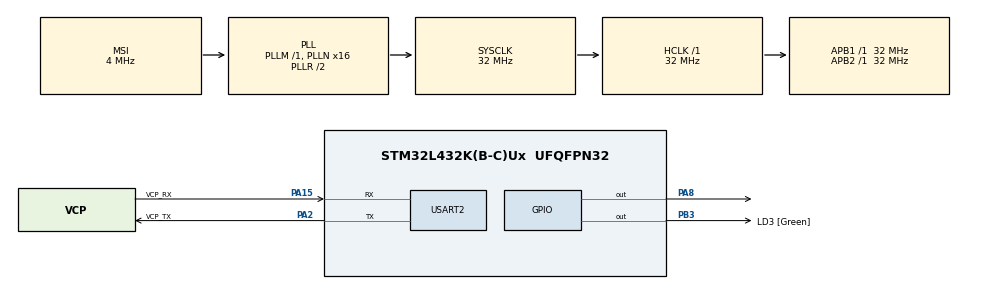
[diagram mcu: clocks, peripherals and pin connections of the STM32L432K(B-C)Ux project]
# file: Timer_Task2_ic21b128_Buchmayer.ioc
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Mcu.Family=STM32L4
Mcu.Name=STM32L432K(B-C)Ux
Mcu.Package=UFQFPN32
NVIC.PriorityGroup=NVIC_PRIORITYGROUP_4
NVIC.TIM6_DAC_IRQn=true\:0\:0\:false\:false\:true\:true\:true\:true
PA0.GPIO_Label=MCO [High speed clock in]
PA0.Mode=HSE-External-Clock-Source-for-LittleOrca
PA0.Signal=RCC_CK_IN
PA13\ (JTMS-SWDIO).GPIO_Label=SWDIO
PA13\ (JTMS-SWDIO).Mode=Serial_Wire
PA13\ (JTMS-SWDIO).Signal=SYS_JTMS-SWDIO
PA14\ (JTCK-SWCLK).GPIO_Label=SWCLK
PA14\ (JTCK-SWCLK).Mode=Serial_Wire
PA14\ (JTCK-SWCLK).Signal=SYS_JTCK-SWCLK
PA15\ (JTDI).GPIO_Label=VCP_RX
PA15\ (JTDI).Mode=Asynchronous
PA15\ (JTDI).Signal=USART2_RX
PA2.GPIO_Label=VCP_TX
PA2.Mode=Asynchronous
PA2.Signal=USART2_TX
PA8.Signal=GPIO_Output
PB3\ (JTDO-TRACESWO).GPIO_Label=LD3 [Green]
PB3\ (JTDO-TRACESWO).Signal=GPIO_Output
PC14-OSC32_IN\ (PC14).Mode=LSE-External-Oscillator
PC14-OSC32_IN\ (PC14).Signal=RCC_OSC32_IN
PC15-OSC32_OUT\ (PC15).Mode=LSE-External-Oscillator
PC15-OSC32_OUT\ (PC15).Signal=RCC_OSC32_OUT
ProjectManager.HeapSize=0x200
ProjectManager.StackSize=0x400
ProjectManager.TargetToolchain=STM32CubeIDE
RCC.AHBFreq_Value=32000000
RCC.APB1Freq_Value=32000000
RCC.APB1TimFreq_Value=32000000
RCC.APB2Freq_Value=32000000
RCC.APB2TimFreq_Value=32000000
RCC.CortexFreq_Value=32000000
RCC.HCLKFreq_Value=32000000
RCC.HSE_VALUE=8000000
RCC.HSI16_VALUE=16000000
RCC.HSI48_VALUE=48000000
RCC.HSI_VALUE=16000000
RCC.MSI_VALUE=4000000
RCC.PLLMUL=RCC_PLLMUL_4
RCC.PLLN=16
RCC.SYSCLKFreq_VALUE=32000000
RCC.SYSCLKSource=RCC_SYSCLKSOURCE_PLLCLK
RCC.VCOOutputFreq_Value=64000000
TIM6.AutoReloadPreload=TIM_AUTORELOAD_PRELOAD_ENABLE
TIM6.Period=1000
TIM6.Prescaler=31999
USART2.VirtualMode-Asynchronous=VM_ASYNC
VP_TIM6_VS_ClockSourceINT.Mode=Enable_Timer
board=NUCLEO-L432KC

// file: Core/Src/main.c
/* USER CODE BEGIN Header */
/**
  ******************************************************************************
  * @file           : main.c
  * @brief          : Main program body
  ******************************************************************************
  * @attention
  *
  * Copyright (c) 2022 STMicroelectronics.
  * All rights reserved.
  *
  * This software is licensed under terms that can be found in the LICENSE file
  * in the root directory of this software component.
  * If no LICENSE file comes with this software, it is provided AS-IS.
  *
  ******************************************************************************
  */
/* USER CODE END Header */
#include "main.h"

TIM_HandleTypeDef htim6;

UART_HandleTypeDef huart2;

/* USER CODE BEGIN PV */
uint32_t time = 0;
uint32_t non_block_call = 0;
uint32_t non_block_timeout = 0;
void (*callback)(void) = NULL;

/* USER CODE END PV */

void SystemClock_Config(void);
static void MX_GPIO_Init(void);
static void MX_USART2_UART_Init(void);
static void MX_TIM6_Init(void);
/* USER CODE BEGIN PFP */

void _tim_timeout_blocking(uint32_t dur){
//	uint32_t elapse = time;
//	while(time < elapse + dur){
//		//blocking
//	}

	//doesnt work, please do more practical work in class, theory doesnt help if i dont know how to apply it
//	HAL_SuspendTick();
//	HAL_PWR_EnterSLEEPMode(PWR_MAINREGULATOR_ON, PWR_SLEEPENTRY_WFI);

	HAL_Delay(dur);
}

void _tim_timeout_nonblocking_with_callback(uint32_t dur, void(*call_func)(void)){
	callback = call_func;
	non_block_timeout = dur;
	non_block_call = time;
}

void toggle_LED(){
	//task didnt specify how you are supposed to demonstrate/show the task, so i did what classmates did and toggled an LED
	//please be more specific with the tasks, i spend too much time actually trying to figure out what is required than actually working
	HAL_GPIO_TogglePin(GPIOA, GPIO_PIN_8);
	callback = NULL;
	non_block_timeout = 0;
	non_block_call = 0;
}

void HAL_TIM_PeriodElapsedCallback(TIM_HandleTypeDef *htim){
	time += htim->Instance->ARR + 1;

	if(callback != NULL && time >= non_block_call + non_block_timeout){
		callback();
	}
}

/* USER CODE END PFP */

int main(void)
{

  /* MCU Configuration--------------------------------------------------------*/

  /* Reset of all peripherals, Initializes the Flash interface and the Systick. */
  HAL_Init();

  /* Configure the system clock */
  SystemClock_Config();

  /* Initialize all configured peripherals */
  MX_GPIO_Init();
  MX_USART2_UART_Init();
  MX_TIM6_Init();

  /* Infinite loop */
  while (1)
  {

    /* USER CODE BEGIN 3 */

	  //task unclear, i have little to no idea what im doing and everything was done using google, please help
	  //please be more specific with the tasks, i spend too much time actually trying to figure out what is required than actually working
	  _tim_timeout_blocking(1000);
//	  HAL_ResumeTick(); //didnt work
	  HAL_GPIO_TogglePin(GPIOB, GPIO_PIN_3);
	  _tim_timeout_nonblocking_with_callback(200, toggle_LED);

	  //task requirements were very unclear, only way i was able to do this was with constant 24/7 help from others
	  //please more practical examples because theory doesnt help

  }
  /* USER CODE END 3 */
}

void SystemClock_Config(void)
{
  RCC_OscInitTypeDef RCC_OscInitStruct = {0};
  RCC_ClkInitTypeDef RCC_ClkInitStruct = {0};

  /** Configure the main internal regulator output voltage
  */
  if (HAL_PWREx_ControlVoltageScaling(PWR_REGULATOR_VOLTAGE_SCALE1) != HAL_OK)
  {
    Error_Handler();
  }

  /** Configure LSE Drive Capability
  */
  HAL_PWR_EnableBkUpAccess();
  __HAL_RCC_LSEDRIVE_CONFIG(RCC_LSEDRIVE_LOW);

  /** Initializes the RCC Oscillators according to the specified parameters
  * in the RCC_OscInitTypeDef structure.
  */
  RCC_OscInitStruct.OscillatorType = RCC_OSCILLATORTYPE_LSE|RCC_OSCILLATORTYPE_MSI;
  RCC_OscInitStruct.LSEState = RCC_LSE_ON;
  RCC_OscInitStruct.MSIState = RCC_MSI_ON;
  RCC_OscInitStruct.MSICalibrationValue = 0;
  RCC_OscInitStruct.MSIClockRange = RCC_MSIRANGE_6;
  RCC_OscInitStruct.PLL.PLLState = RCC_PLL_ON;
  RCC_OscInitStruct.PLL.PLLSource = RCC_PLLSOURCE_MSI;
  RCC_OscInitStruct.PLL.PLLM = 1;
  RCC_OscInitStruct.PLL.PLLN = 16;
  RCC_OscInitStruct.PLL.PLLP = RCC_PLLP_DIV7;
  RCC_OscInitStruct.PLL.PLLQ = RCC_PLLQ_DIV2;
  RCC_OscInitStruct.PLL.PLLR = RCC_PLLR_DIV2;
  if (HAL_RCC_OscConfig(&RCC_OscInitStruct) != HAL_OK)
  {
    Error_Handler();
  }

  /** Initializes the CPU, AHB and APB buses clocks
  */
  RCC_ClkInitStruct.ClockType = RCC_CLOCKTYPE_HCLK|RCC_CLOCKTYPE_SYSCLK
                              |RCC_CLOCKTYPE_PCLK1|RCC_CLOCKTYPE_PCLK2;
  RCC_ClkInitStruct.SYSCLKSource = RCC_SYSCLKSOURCE_PLLCLK;
  RCC_ClkInitStruct.AHBCLKDivider = RCC_SYSCLK_DIV1;
  RCC_ClkInitStruct.APB1CLKDivider = RCC_HCLK_DIV1;
  RCC_ClkInitStruct.APB2CLKDivider = RCC_HCLK_DIV1;

  if (HAL_RCC_ClockConfig(&RCC_ClkInitStruct, FLASH_LATENCY_1) != HAL_OK)
  {
    Error_Handler();
  }

  /** Enable MSI Auto calibration
  */
  HAL_RCCEx_EnableMSIPLLMode();
}

static void MX_TIM6_Init(void)
{

  TIM_MasterConfigTypeDef sMasterConfig = {0};

  htim6.Instance = TIM6;
  htim6.Init.Prescaler = 31999;
  htim6.Init.CounterMode = TIM_COUNTERMODE_UP;
  htim6.Init.Period = 999;
  htim6.Init.AutoReloadPreload = TIM_AUTORELOAD_PRELOAD_ENABLE;
  if (HAL_TIM_Base_Init(&htim6) != HAL_OK)
  {
    Error_Handler();
  }
  sMasterConfig.MasterOutputTrigger = TIM_TRGO_RESET;
  sMasterConfig.MasterSlaveMode = TIM_MASTERSLAVEMODE_DISABLE;
  if (HAL_TIMEx_MasterConfigSynchronization(&htim6, &sMasterConfig) != HAL_OK)
  {
    Error_Handler();
  }
  /* USER CODE BEGIN TIM6_Init 2 */
  HAL_TIM_Base_Start_IT(&htim6);
  htim6.Instance->ARR = 1000;
  htim6.Instance->EGR |= TIM_EGR_UG;
  /* USER CODE END TIM6_Init 2 */

}

static void MX_USART2_UART_Init(void)
{

  huart2.Instance = USART2;
  huart2.Init.BaudRate = 115200;
  huart2.Init.WordLength = UART_WORDLENGTH_8B;
  huart2.Init.StopBits = UART_STOPBITS_1;
  huart2.Init.Parity = UART_PARITY_NONE;
  huart2.Init.Mode = UART_MODE_TX_RX;
  huart2.Init.HwFlowCtl = UART_HWCONTROL_NONE;
  huart2.Init.OverSampling = UART_OVERSAMPLING_16;
  huart2.Init.OneBitSampling = UART_ONE_BIT_SAMPLE_DISABLE;
  huart2.AdvancedInit.AdvFeatureInit = UART_ADVFEATURE_NO_INIT;
  if (HAL_UART_Init(&huart2) != HAL_OK)
  {
    Error_Handler();
  }

}

static void MX_GPIO_Init(void)
{
  GPIO_InitTypeDef GPIO_InitStruct = {0};

  /* GPIO Ports Clock Enable */
  __HAL_RCC_GPIOC_CLK_ENABLE();
  __HAL_RCC_GPIOA_CLK_ENABLE();
  __HAL_RCC_GPIOB_CLK_ENABLE();

  /*Configure GPIO pin Output Level */
  HAL_GPIO_WritePin(GPIOA, GPIO_PIN_8, GPIO_PIN_RESET);

  /*Configure GPIO pin Output Level */
  HAL_GPIO_WritePin(LD3_GPIO_Port, LD3_Pin, GPIO_PIN_RESET);

  /*Configure GPIO pin : PA8 */
  GPIO_InitStruct.Pin = GPIO_PIN_8;
  GPIO_InitStruct.Mode = GPIO_MODE_OUTPUT_PP;
  GPIO_InitStruct.Pull = GPIO_NOPULL;
  GPIO_InitStruct.Speed = GPIO_SPEED_FREQ_LOW;
  HAL_GPIO_Init(GPIOA, &GPIO_InitStruct);

  /*Configure GPIO pin : LD3_Pin */
  GPIO_InitStruct.Pin = LD3_Pin;
  GPIO_InitStruct.Mode = GPIO_MODE_OUTPUT_PP;
  GPIO_InitStruct.Pull = GPIO_NOPULL;
  GPIO_InitStruct.Speed = GPIO_SPEED_FREQ_LOW;
  HAL_GPIO_Init(LD3_GPIO_Port, &GPIO_InitStruct);

}

void Error_Handler(void)
{
  __disable_irq();
  while (1)
  {
  }
}
